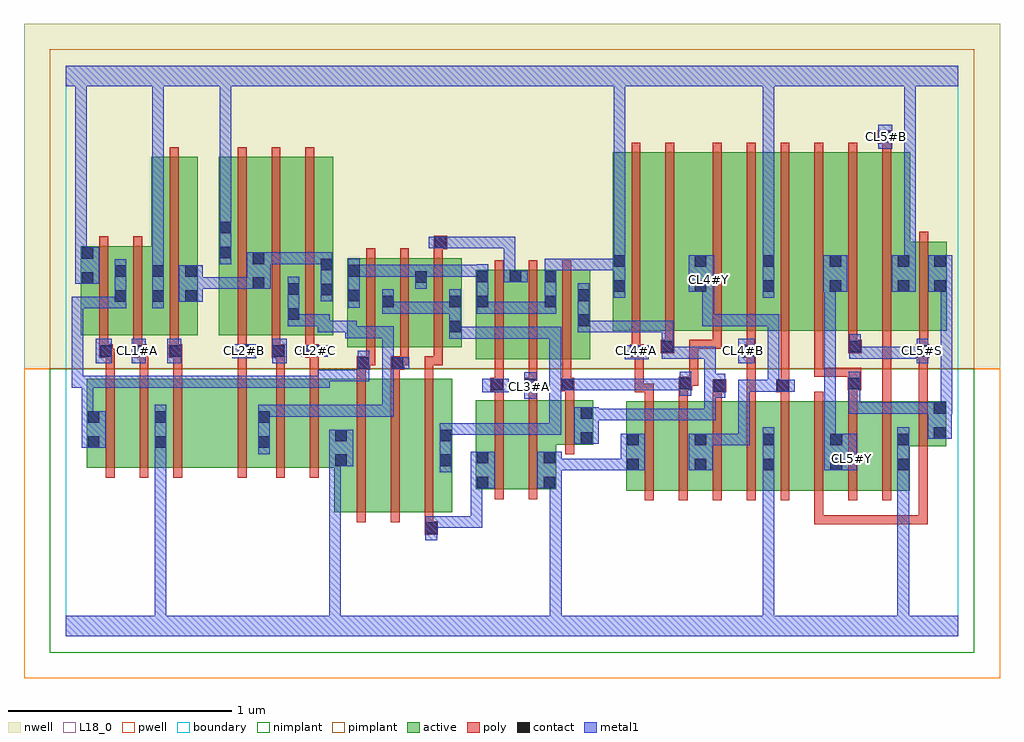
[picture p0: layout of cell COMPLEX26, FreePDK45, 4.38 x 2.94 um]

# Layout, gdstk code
import gdstk
lib = gdstk.Library(unit=1e-6, precision=1e-09)
def R(c, l, rs):  # rectangles x0, y0, x1, y1
    for r in rs: c.add(gdstk.rectangle(r[:2], r[2:], *l))
def A(c, l, x, y, w, h, nx, ny, dx, dy):  # array of equal rectangles
    R(c, l, [(x+i*dx, y+j*dy, x+i*dx+w, y+j*dy+h) for i in range(nx) for j in range(ny)])
active = (1, 0)
pwell = (2, 0)
nwell = (3, 0)
nimplant = (4, 0)
pimplant = (5, 0)
poly = (9, 0)
contact = (10, 0)
metal1 = (11, 0)
L18_0 = (18, 0)
boundary = (235, 0)

complex26 = lib.new_cell('COMPLEX26')
A(complex26, active, 2.512, 0.654, 0.18, 0.4, 4, 1, 0.304, 0)
A(complex26, active, 2.512, 0.654, 0.06, 0.4, 3, 1, 0.304, 0)
A(complex26, active, 2.692, 0.654, 0.184, 0.4, 3, 1, 0.304, 0)
A(complex26, active, 0.382, 1.35, 0.208, 0.8, 3, 1, 0.304, 0)
R(complex26, active, [(1.204,0.556,1.4,1.156), (1.4,0.556,1.552,1.156), (1.552,0.556,1.732,1.156), (1.672,0.556,1.732,1.156), (3.424,0.654,3.484,0.92), (3.604,0.654,3.784,1.054), (1.838,0.66,2.018,1.06), (1.838,0.66,1.898,1.06), (2.018,0.66,2.198,1.06), (2.138,0.66,2.198,0.956), (3.724,0.742,3.784,0.914), (0.094,0.756,0.274,1.156), (0.094,0.756,0.154,1.156), (0.274,0.756,0.454,1.156), (0.394,0.756,0.714,1.156), (0.394,0.756,0.454,1.014), (0.714,0.756,0.918,1.156), (0.858,0.756,1.038,1.156), (0.858,0.756,0.918,1.156), (1.038,0.756,1.264,1.156), (1.204,0.756,1.264,0.938), (3.724,0.854,3.948,1.054), (3.888,0.854,3.948,1.054), (2.138,0.86,2.364,1.06), (2.304,0.86,2.364,1.06), (1.838,1.244,1.898,1.644), (1.838,1.244,2.046,1.644), (1.986,1.244,2.202,1.644), (2.142,1.244,2.35,1.644), (2.29,1.244,2.35,1.644), (1.262,1.296,1.322,1.696), (1.262,1.296,1.474,1.696), (1.414,1.296,1.474,1.696), (1.414,1.296,1.622,1.696), (1.562,1.296,1.622,1.696), (1.562,1.296,1.774,1.696), (1.714,1.296,1.774,1.644), (0.066,1.35,0.126,1.75), (0.066,1.35,0.274,1.75), (0.214,1.35,0.442,1.75), (0.53,1.35,0.59,2.044), (0.686,1.35,0.746,2.15), (0.834,1.35,1.05,2.15), (1.138,1.35,1.198,2.15), (2.452,1.37,2.632,2.17), (2.452,1.37,2.512,2.17), (2.632,1.37,2.876,2.17), (2.816,1.37,2.996,2.17), (2.816,1.37,2.876,2.094), (2.996,1.37,3.18,2.17), (3.12,1.37,3.3,2.17), (3.3,1.37,3.48,2.17), (3.42,1.37,3.604,2.17), (3.604,1.37,3.786,2.17), (3.726,1.37,3.95,1.77), (3.89,1.37,3.95,1.75), (0.99,1.416,1.05,2.044), (2.142,1.472,2.202,1.644), (0.214,1.496,0.274,1.668), (0.382,1.496,0.442,1.696), (3.12,1.536,3.18,2.17), (3.42,1.542,3.48,2.164), (3.726,1.542,3.786,1.75), (0.834,1.554,0.894,2.044), (1.986,1.584,2.046,1.644)])
R(complex26, pwell, [(-0.188,-0.188,4.188,1.2)])
R(complex26, nwell, [(-0.188,1.2,4.188,2.748)])
R(complex26, nimplant, [(-0.072,-0.072,4.072,1.2)])
R(complex26, pimplant, [(-0.072,1.2,4.072,2.632)])
A(complex26, poly, 1.304, 0.512, 0.04, 0.688, 3, 1, 0.152, 0)
A(complex26, poly, 2.596, 0.61, 0.04, 0.488, 8, 1, 0.152, 0)
A(complex26, poly, 0.178, 0.712, 0.04, 0.488, 3, 1, 0.152, 0)
A(complex26, poly, 2.596, 1.058, 0.04, 0.076, 3, 1, 0.304, 0)
A(complex26, poly, 1.922, 1.12, 0.04, 0.12, 3, 1, 0.152, 0)
A(complex26, poly, 0.178, 1.16, 0.04, 0.13, 3, 1, 0.152, 0)
A(complex26, poly, 1.922, 1.2, 0.04, 0.488, 3, 1, 0.152, 0)
A(complex26, poly, 1.346, 1.216, 0.04, 0.076, 3, 1, 0.152, 0)
A(complex26, poly, 0.77, 1.25, 0.06, 0.06, 3, 1, 0.152, 0)
A(complex26, poly, 1.346, 1.252, 0.04, 0.488, 3, 1, 0.152, 0)
A(complex26, poly, 0.77, 1.27, 0.04, 0.076, 3, 1, 0.152, 0)
A(complex26, poly, 0.77, 1.306, 0.04, 0.888, 3, 1, 0.152, 0)
A(complex26, poly, 2.9, 1.326, 0.04, 0.888, 6, 1, 0.152, 0)
R(complex26, poly, [(1.608,0.456,1.668,0.516), (1.608,0.476,1.648,0.552), (3.356,0.504,3.396,0.544), (3.356,0.504,3.396,0.544), (3.356,0.504,3.396,0.544), (3.356,0.504,3.502,0.544), (3.356,0.504,3.396,0.65), (3.462,0.504,3.502,0.544), (3.462,0.504,3.502,0.544), (3.462,0.504,3.502,0.544), (3.462,0.504,3.744,0.544), (3.704,0.504,3.744,0.544), (3.704,0.504,3.744,0.544), (3.704,0.504,3.744,0.544), (3.704,0.504,3.864,0.544), (3.824,0.504,3.864,0.544), (3.824,0.504,3.864,0.544), (3.824,0.504,3.864,0.544), (3.824,0.504,3.864,0.544), (3.824,0.504,3.864,0.544), (3.824,0.504,3.864,0.85), (1.922,0.616,1.962,1.104), (2.074,0.616,2.114,1.104), (0.77,0.712,0.81,1.2), (0.942,0.712,0.982,1.2), (1.094,0.712,1.134,1.2), (3.824,0.81,3.864,1.098), (2.238,0.816,2.278,1.104), (2.748,1.058,2.788,1.144), (3.052,1.058,3.092,1.29), (3.508,1.058,3.548,1.144), (3.66,1.058,3.7,1.304), (3.824,1.058,3.864,1.29), (1.922,1.064,1.962,1.14), (2.074,1.064,2.114,1.14), (2.238,1.064,2.278,1.14), (2.55,1.094,2.59,1.29), (2.55,1.094,2.636,1.134), (2.9,1.094,2.96,1.154), (3.184,1.094,3.244,1.154), (3.204,1.094,3.244,1.134), (3.204,1.094,3.244,1.134), (1.902,1.1,1.962,1.16), (2.054,1.1,2.114,1.16), (2.218,1.1,2.278,1.16), (2.238,1.1,2.278,1.14), (2.238,1.1,2.278,1.14), (2.748,1.104,2.808,1.164), (3.506,1.104,3.566,1.204), (3.204,1.114,3.244,1.366), (1.922,1.12,1.962,1.16), (1.922,1.12,1.962,1.16), (2.074,1.12,2.114,1.16), (2.074,1.12,2.114,1.16), (2.768,1.124,2.834,1.164), (2.794,1.124,2.834,1.164), (2.794,1.124,2.834,1.33), (0.77,1.16,0.81,1.29), (0.942,1.16,0.982,1.29), (1.094,1.16,1.134,1.29), (1.304,1.16,1.344,1.236), (1.456,1.16,1.496,1.236), (1.608,1.16,1.648,1.256), (3.356,1.164,3.396,1.204), (3.356,1.164,3.396,1.204), (3.356,1.164,3.396,1.204), (3.356,1.164,3.396,1.204), (3.356,1.164,3.396,1.204), (3.356,1.164,3.546,1.204), (3.356,1.164,3.396,1.366), (1.304,1.196,1.364,1.256), (1.456,1.196,1.516,1.256), (1.324,1.216,1.364,1.256), (1.324,1.216,1.386,1.256), (1.476,1.216,1.516,1.256), (1.476,1.216,1.538,1.256), (1.608,1.216,1.648,1.256), (1.608,1.216,1.648,1.256), (1.608,1.216,1.69,1.256), (0.15,1.25,0.21,1.31), (0.17,1.25,0.21,1.29), (0.17,1.25,0.218,1.29), (0.302,1.25,0.362,1.31), (0.322,1.25,0.362,1.29), (0.322,1.25,0.37,1.29), (0.462,1.25,0.522,1.31), (0.482,1.25,0.522,1.29), (0.482,1.25,0.522,1.29), (0.77,1.25,0.81,1.29), (0.77,1.25,0.81,1.29), (0.942,1.25,0.982,1.29), (0.942,1.25,0.982,1.29), (1.094,1.25,1.134,1.29), (1.094,1.25,1.134,1.29), (2.53,1.25,2.59,1.31), (3.032,1.25,3.092,1.31), (3.81,1.25,3.87,1.31), (3.824,1.25,3.864,1.29), (3.824,1.25,3.864,1.29), (3.66,1.264,3.7,1.304), (3.66,1.264,3.7,1.304), (3.66,1.264,3.7,1.304), (3.66,1.264,3.7,1.366), (0.15,1.27,0.19,1.346), (0.302,1.27,0.342,1.346), (0.466,1.27,0.506,1.346), (2.536,1.27,2.576,1.366), (2.668,1.27,2.728,1.33), (3.052,1.27,3.092,1.366), (3.052,1.27,3.092,1.31), (3.052,1.27,3.092,1.31), (3.508,1.27,3.568,1.33), (3.826,1.27,3.866,1.366), (2.688,1.29,2.728,1.366), (2.794,1.29,2.834,1.33), (2.794,1.29,2.94,1.33), (2.9,1.29,2.94,1.33), (2.9,1.29,2.94,1.366), (3.508,1.29,3.548,1.366), (0.15,1.306,0.19,1.794), (0.302,1.306,0.342,1.794), (0.466,1.306,0.506,2.194), (2.536,1.326,2.576,2.214), (2.688,1.326,2.728,2.214), (3.826,1.326,3.866,1.814), (1.65,1.7,1.69,1.776), (1.65,1.736,1.71,1.796), (3.66,2.174,3.7,2.25), (3.64,2.21,3.7,2.27)])
A(complex26, contact, 2.516, 0.746, 0.052, 0.052, 4, 2, 0.304, 0.112)
A(complex26, contact, 0.774, 1.254, 0.052, 0.052, 3, 1, 0.152, 0)
R(complex26, contact, [(1.612,0.46,1.664,0.512), (1.842,0.664,1.894,0.716), (2.142,0.664,2.194,0.716), (3.728,0.746,3.78,0.798), (1.208,0.764,1.26,0.816), (1.676,0.764,1.728,0.816), (1.842,0.776,1.894,0.828), (2.142,0.776,2.194,0.828), (0.098,0.846,0.15,0.898), (0.398,0.846,0.45,0.898), (0.862,0.846,0.914,0.898), (3.728,0.858,3.78,0.91), (2.308,0.864,2.36,0.916), (1.208,0.876,1.26,0.928), (1.676,0.876,1.728,0.928), (3.892,0.886,3.944,0.938), (0.098,0.958,0.15,1.01), (0.398,0.958,0.45,1.01), (0.862,0.958,0.914,1.01), (2.308,0.976,2.36,1.028), (3.892,0.998,3.944,1.05), (2.904,1.098,2.956,1.15), (3.188,1.098,3.24,1.15), (1.906,1.104,1.958,1.156), (2.058,1.104,2.11,1.156), (2.222,1.104,2.274,1.156), (2.752,1.108,2.804,1.16), (3.51,1.108,3.562,1.16), (1.308,1.2,1.36,1.252), (1.46,1.2,1.512,1.252), (0.154,1.254,0.206,1.306), (0.306,1.254,0.358,1.306), (0.466,1.254,0.518,1.306), (2.534,1.254,2.586,1.306), (3.036,1.254,3.088,1.306), (3.814,1.254,3.866,1.306), (2.672,1.274,2.724,1.326), (3.512,1.274,3.564,1.326), (1.718,1.364,1.77,1.416), (2.294,1.392,2.346,1.444), (0.994,1.42,1.046,1.472), (1.418,1.476,1.47,1.528), (1.718,1.476,1.77,1.528), (1.842,1.476,1.894,1.528), (2.146,1.476,2.198,1.528), (0.218,1.5,0.27,1.552), (0.386,1.5,0.438,1.552), (0.534,1.5,0.586,1.552), (1.266,1.502,1.318,1.554), (2.294,1.504,2.346,1.556), (1.142,1.53,1.194,1.582), (0.994,1.532,1.046,1.584), (2.456,1.546,2.508,1.598), (2.82,1.546,2.872,1.598), (3.124,1.546,3.176,1.598), (3.424,1.546,3.476,1.598), (3.73,1.546,3.782,1.598), (3.894,1.546,3.946,1.598), (0.838,1.558,0.89,1.61), (0.07,1.582,0.122,1.634), (1.566,1.586,1.618,1.638), (1.842,1.588,1.894,1.64), (1.99,1.588,2.042,1.64), (2.146,1.588,2.198,1.64), (0.218,1.612,0.27,1.664), (0.386,1.612,0.438,1.664), (0.534,1.612,0.586,1.664), (1.266,1.614,1.318,1.666), (1.142,1.642,1.194,1.694), (2.456,1.658,2.508,1.71), (2.82,1.658,2.872,1.71), (3.124,1.658,3.176,1.71), (3.424,1.658,3.476,1.71), (3.73,1.658,3.782,1.71), (3.894,1.658,3.946,1.71), (0.838,1.67,0.89,1.722), (0.07,1.694,0.122,1.746), (0.69,1.696,0.742,1.748), (1.654,1.74,1.706,1.792), (0.69,1.808,0.742,1.86), (3.644,2.214,3.696,2.266)])
R(complex26, metal1, [(0,0,4,0.092), (0.398,0.04,0.45,0.092), (0.398,0.04,0.45,0.092), (0.398,0.04,0.45,0.092), (0.398,0.04,0.45,0.092), (0.398,0.04,0.45,0.092), (0.398,0.04,0.45,0.092), (0.398,0.04,0.45,0.092), (0.398,0.04,0.45,0.092), (0.398,0.04,0.45,0.87), (1.18,0.04,1.232,0.092), (1.18,0.04,1.232,0.092), (1.18,0.04,1.232,0.092), (1.18,0.04,1.232,0.092), (1.18,0.04,1.232,0.092), (1.18,0.04,1.232,0.092), (1.18,0.04,1.232,0.092), (1.18,0.04,1.232,0.092), (1.18,0.04,1.232,0.816), (2.17,0.04,2.222,0.092), (2.17,0.04,2.222,0.092), (2.17,0.04,2.222,0.092), (2.17,0.04,2.222,0.092), (2.17,0.04,2.222,0.092), (2.17,0.04,2.222,0.092), (2.17,0.04,2.222,0.706), (3.124,0.04,3.176,0.092), (3.124,0.04,3.176,0.092), (3.124,0.04,3.176,0.092), (3.124,0.04,3.176,0.092), (3.124,0.04,3.176,0.092), (3.124,0.04,3.176,0.092), (3.124,0.04,3.176,0.092), (3.124,0.04,3.176,0.092), (3.124,0.04,3.176,0.092), (3.124,0.04,3.176,0.092), (3.124,0.04,3.176,0.77), (3.728,0.04,3.78,0.092), (3.728,0.04,3.78,0.092), (3.728,0.04,3.78,0.092), (3.728,0.04,3.78,0.092), (3.728,0.04,3.78,0.092), (3.728,0.04,3.78,0.092), (3.728,0.04,3.78,0.092), (3.728,0.04,3.78,0.092), (3.728,0.04,3.78,0.092), (3.728,0.04,3.78,0.092), (3.728,0.04,3.78,0.77), (1.612,0.432,1.664,0.54), (1.612,0.488,1.728,0.54), (1.676,0.488,1.728,0.54), (1.676,0.488,1.866,0.54), (1.814,0.488,1.866,0.54), (1.814,0.488,1.866,0.54), (1.814,0.488,1.866,0.54), (1.814,0.488,1.866,0.54), (1.814,0.488,1.866,0.54), (1.814,0.488,1.866,0.716), (2.17,0.654,2.222,0.706), (2.17,0.654,2.222,0.716), (1.814,0.664,1.922,0.828), (2.114,0.664,2.222,0.828), (2.17,0.664,2.222,0.716), (2.17,0.664,2.222,0.716), (2.17,0.664,2.222,0.716), (2.17,0.664,2.222,0.716), (3.124,0.718,3.176,0.77), (3.124,0.718,3.176,0.77), (3.124,0.718,3.176,0.938), (3.728,0.718,3.78,0.77), (3.728,0.718,3.78,0.77), (3.728,0.718,3.78,0.938), (1.676,0.736,1.728,0.956), (2.17,0.746,2.222,0.798), (2.17,0.746,2.222,0.798), (2.17,0.746,2.332,0.798), (2.28,0.746,2.332,0.798), (2.28,0.746,2.54,0.798), (2.488,0.746,2.596,0.91), (2.792,0.746,2.9,0.91), (3.4,0.746,3.546,0.91), (1.18,0.764,1.288,0.928), (0.398,0.818,0.45,0.87), (0.398,0.818,0.45,0.87), (0.398,0.818,0.45,0.87), (0.398,0.818,0.45,0.87), (0.398,0.818,0.45,1.038), (0.862,0.818,0.914,1.038), (0.07,0.846,0.178,1.01), (2.848,0.858,2.914,0.91), (2.862,0.858,2.914,0.91), (2.862,0.858,3.066,0.91), (3.014,0.858,3.066,0.91), (3.014,0.858,3.066,1.15), (3.4,0.858,3.452,0.91), (3.4,0.858,3.452,0.91), (3.4,0.858,3.452,0.91), (3.4,0.858,3.452,0.91), (3.4,0.858,3.452,0.91), (3.4,0.858,3.452,0.91), (3.4,0.858,3.452,0.91), (3.4,0.858,3.452,0.91), (3.4,0.858,3.452,1.598), (2.28,0.864,2.388,1.028), (3.864,0.886,3.972,1.05), (1.676,0.904,1.88,0.956), (1.828,0.904,1.88,0.956), (1.828,0.904,1.88,0.956), (1.828,0.904,1.88,0.956), (1.828,0.904,2.056,0.956), (2.004,0.904,2.056,0.956), (2.004,0.904,2.056,0.956), (2.004,0.904,2.056,0.956), (2.004,0.904,2.22,0.956), (2.168,0.904,2.22,0.956), (2.168,0.904,2.22,1.156), (0.07,0.958,0.122,1.168), (2.336,0.97,2.508,1.022), (2.456,0.97,2.508,1.022), (2.456,0.97,2.508,1.022), (2.456,0.97,2.508,1.022), (2.456,0.97,2.734,1.022), (2.682,0.97,2.734,1.022), (2.682,0.97,2.734,1.022), (2.682,0.97,2.734,1.022), (2.682,0.97,2.914,1.022), (2.862,0.97,2.914,1.022), (2.862,0.97,2.914,1.178), (0.862,0.986,0.914,1.038), (0.862,0.986,0.914,1.038), (0.862,0.986,1.072,1.038), (1.02,0.986,1.072,1.038), (1.02,0.986,1.194,1.038), (1.142,0.986,1.194,1.038), (1.142,0.986,1.194,1.038), (1.142,0.986,1.194,1.038), (1.142,0.986,1.304,1.038), (1.252,0.986,1.304,1.038), (1.252,0.986,1.304,1.038), (1.252,0.986,1.304,1.038), (1.252,0.986,1.47,1.038), (1.418,0.986,1.47,1.038), (1.418,0.986,1.47,1.252), (3.51,0.998,3.562,1.05), (3.51,0.998,3.674,1.05), (3.51,0.998,3.562,1.132), (3.622,0.998,3.674,1.05), (3.622,0.998,3.674,1.05), (3.622,0.998,3.674,1.05), (3.622,0.998,3.916,1.05), (3.864,0.998,3.916,1.05), (3.864,0.998,3.916,1.05), (3.92,0.998,3.972,1.05), (3.92,0.998,3.974,1.05), (3.922,0.998,3.974,1.598), (2.054,1.066,2.11,1.184), (2.904,1.07,2.956,1.178), (2.752,1.08,2.804,1.188), (3.51,1.08,3.562,1.132), (3.51,1.08,3.562,1.132), (3.51,1.08,3.562,1.188), (1.866,1.094,1.986,1.156), (3.014,1.098,3.066,1.15), (3.014,1.098,3.066,1.15), (3.014,1.098,3.066,1.15), (3.014,1.098,3.198,1.15), (3.146,1.098,3.198,1.15), (3.146,1.098,3.198,1.15), (3.146,1.098,3.198,1.15), (3.146,1.098,3.198,1.15), (3.146,1.098,3.198,1.15), (3.146,1.098,3.212,1.15), (3.146,1.098,3.198,1.444), (3.16,1.098,3.268,1.15), (2.168,1.104,2.22,1.156), (2.168,1.104,2.22,1.156), (2.168,1.104,2.22,1.156), (2.168,1.104,2.246,1.156), (2.168,1.104,2.398,1.156), (2.168,1.104,2.22,1.388), (2.194,1.104,2.302,1.156), (2.346,1.104,2.398,1.156), (2.346,1.104,2.398,1.156), (2.346,1.104,2.398,1.156), (2.346,1.104,2.614,1.156), (2.562,1.104,2.614,1.156), (2.562,1.104,2.614,1.156), (2.562,1.104,2.614,1.156), (2.562,1.104,2.734,1.156), (2.682,1.104,2.734,1.156), (2.682,1.104,2.804,1.156), (0.026,1.116,0.078,1.524), (0.026,1.116,0.122,1.168), (0.07,1.116,0.122,1.168), (0.07,1.116,0.122,1.168), (0.07,1.116,0.232,1.168), (0.18,1.116,0.232,1.168), (0.18,1.116,0.232,1.168), (0.18,1.116,0.232,1.168), (0.18,1.116,0.426,1.168), (0.374,1.116,0.426,1.168), (0.374,1.116,0.426,1.168), (0.374,1.116,0.426,1.168), (0.374,1.116,0.614,1.168), (0.562,1.116,0.614,1.168), (0.562,1.116,0.614,1.168), (0.562,1.116,0.614,1.168), (0.562,1.116,0.724,1.168), (0.672,1.116,0.724,1.168), (0.672,1.116,0.724,1.168), (0.672,1.116,0.724,1.168), (0.672,1.116,0.834,1.168), (0.782,1.116,0.834,1.168), (0.782,1.116,1.05,1.168), (0.998,1.116,1.05,1.168), (0.998,1.116,1.182,1.168), (1.13,1.116,1.182,1.168), (1.13,1.116,1.182,1.168), (1.13,1.116,1.182,1.196), (2.862,1.126,2.914,1.178), (2.862,1.126,2.956,1.178), (2.862,1.126,2.914,1.298), (1.13,1.144,1.36,1.196), (1.308,1.144,1.36,1.224), (1.308,1.172,1.36,1.224), (1.308,1.172,1.36,1.28), (1.418,1.2,1.47,1.252), (1.418,1.2,1.484,1.252), (1.418,1.2,1.47,1.39), (1.432,1.2,1.54,1.252), (0.134,1.226,0.206,1.334), (0.294,1.226,0.358,1.334), (0.454,1.226,0.518,1.334), (0.926,1.226,0.99,1.334), (3.014,1.226,3.088,1.334), (3.814,1.226,3.866,1.334), (2.506,1.244,2.614,1.306), (2.672,1.246,2.724,1.354), (2.672,1.246,2.914,1.298), (2.862,1.246,2.914,1.298), (3.512,1.246,3.564,1.298), (3.512,1.246,3.564,1.298), (3.512,1.246,3.564,1.354), (3.512,1.246,3.756,1.298), (3.704,1.246,3.756,1.298), (3.704,1.246,3.756,1.298), (3.704,1.246,3.756,1.298), (3.704,1.246,3.866,1.298), (0.746,1.248,0.854,1.31), (1.05,1.254,1.174,1.306), (2.672,1.302,2.724,1.354), (2.672,1.302,2.724,1.354), (2.672,1.302,2.724,1.416), (1.718,1.336,1.88,1.388), (1.718,1.336,1.77,1.556), (1.828,1.336,1.88,1.388), (1.828,1.336,1.88,1.388), (1.828,1.336,1.88,1.388), (1.828,1.336,2.032,1.388), (1.98,1.336,2.032,1.388), (1.98,1.336,2.032,1.388), (1.98,1.336,2.032,1.388), (1.98,1.336,2.22,1.388), (2.168,1.336,2.22,1.388), (1.252,1.338,1.304,1.39), (1.252,1.338,1.304,1.39), (1.252,1.338,1.304,1.39), (1.252,1.338,1.304,1.416), (1.252,1.338,1.47,1.39), (1.418,1.338,1.47,1.39), (1.13,1.364,1.182,1.416), (1.13,1.364,1.182,1.416), (1.13,1.364,1.304,1.416), (1.13,1.364,1.182,1.444), (1.252,1.364,1.304,1.416), (2.294,1.364,2.346,1.584), (2.294,1.364,2.614,1.416), (2.562,1.364,2.614,1.416), (2.562,1.364,2.614,1.416), (2.562,1.364,2.614,1.416), (2.562,1.364,2.724,1.416), (2.672,1.364,2.724,1.416), (0.994,1.392,1.046,1.612), (0.994,1.392,1.182,1.444), (2.854,1.392,2.906,1.444), (2.854,1.392,2.942,1.444), (2.854,1.392,2.906,1.598), (2.89,1.392,2.942,1.444), (2.89,1.392,3.052,1.444), (3,1.392,3.052,1.444), (3,1.392,3.052,1.444), (3,1.392,3.052,1.444), (3,1.392,3.198,1.444), (3.146,1.392,3.198,1.444), (1.418,1.448,1.47,1.5), (1.418,1.448,1.47,1.5), (1.418,1.448,1.47,1.556), (1.418,1.448,1.618,1.5), (1.566,1.448,1.618,1.5), (1.566,1.448,1.618,1.5), (1.566,1.448,1.618,1.5), (1.566,1.448,1.77,1.5), (1.842,1.448,1.894,1.5), (1.842,1.448,1.894,1.5), (1.842,1.448,1.894,1.668), (1.842,1.448,2.056,1.5), (2.004,1.448,2.056,1.5), (2.004,1.448,2.056,1.5), (2.004,1.448,2.056,1.5), (2.004,1.448,2.198,1.5), (2.146,1.448,2.198,1.5), (2.146,1.448,2.198,1.5), (2.146,1.448,2.198,1.668), (0.026,1.472,0.078,1.524), (0.026,1.472,0.078,1.524), (0.026,1.472,0.078,1.524), (0.026,1.472,0.078,1.524), (0.026,1.472,0.078,1.524), (0.026,1.472,0.27,1.524), (0.218,1.472,0.27,1.692), (0.386,1.472,0.438,1.692), (1.266,1.474,1.318,1.694), (0.506,1.5,0.614,1.664), (1.142,1.502,1.194,1.722), (2.456,1.518,2.508,1.738), (3.124,1.518,3.176,1.738), (2.792,1.546,2.906,1.71), (3.396,1.546,3.504,1.71), (3.702,1.546,3.81,1.71), (3.866,1.546,3.974,1.71), (3.922,1.546,3.974,1.598), (3.922,1.546,3.974,1.598), (0.562,1.558,0.614,1.61), (0.562,1.558,0.614,1.61), (0.562,1.558,0.724,1.61), (0.672,1.558,0.724,1.61), (0.672,1.558,0.862,1.61), (0.81,1.558,0.918,1.722), (1.566,1.558,1.618,1.666), (0.042,1.582,0.15,1.746), (1.962,1.588,2.07,1.64), (1.962,1.588,2.014,1.792), (1.266,1.614,1.318,1.666), (1.266,1.614,1.318,1.666), (1.266,1.614,1.47,1.666), (1.418,1.614,1.47,1.666), (1.418,1.614,1.47,1.666), (1.418,1.614,1.47,1.666), (1.418,1.614,1.618,1.666), (1.566,1.614,1.756,1.666), (1.704,1.614,1.756,1.666), (1.704,1.614,1.756,1.666), (1.704,1.614,1.756,1.666), (1.704,1.614,1.894,1.666), (2.146,1.616,2.198,1.668), (2.146,1.616,2.198,1.668), (2.146,1.616,2.198,1.694), (0.386,1.64,0.438,1.692), (0.386,1.64,0.438,1.692), (0.386,1.64,0.438,2.52), (2.146,1.642,2.198,1.694), (2.146,1.642,2.398,1.694), (2.346,1.642,2.398,1.694), (2.346,1.642,2.398,1.694), (2.346,1.642,2.398,1.694), (2.346,1.642,2.398,1.694), (2.346,1.642,2.398,1.694), (2.346,1.642,2.398,1.694), (2.346,1.642,2.398,1.694), (2.346,1.642,2.508,1.694), (3.758,1.658,3.81,2.52), (0.69,1.668,0.742,1.888), (0.866,1.67,0.918,1.722), (0.866,1.67,0.918,1.722), (0.866,1.67,0.918,1.722), (0.866,1.67,0.918,1.722), (0.866,1.67,1.072,1.722), (1.02,1.67,1.072,1.722), (1.02,1.67,1.194,1.722), (1.142,1.67,1.194,1.722), (1.142,1.67,1.194,1.722), (2.456,1.686,2.508,1.738), (2.456,1.686,2.508,1.738), (2.456,1.686,2.508,1.738), (2.456,1.686,2.508,1.738), (2.456,1.686,2.508,2.52), (3.124,1.686,3.176,1.738), (3.124,1.686,3.176,1.738), (3.124,1.686,3.176,2.52), (0.042,1.694,0.094,2.52), (1.626,1.74,1.734,1.792), (1.682,1.74,1.734,1.792), (1.682,1.74,1.734,1.792), (1.682,1.74,1.88,1.792), (1.828,1.74,1.88,1.792), (1.828,1.74,1.88,1.792), (1.828,1.74,1.88,1.792), (1.828,1.74,2.014,1.792), (1.962,1.74,2.014,1.792), (0.69,1.836,0.742,2.52), (3.642,2.186,3.706,2.294), (0,2.468,4,2.56), (0.042,2.468,0.094,2.52), (0.042,2.468,0.094,2.52), (0.042,2.468,0.094,2.52), (0.042,2.468,0.094,2.52), (0.042,2.468,0.094,2.52), (0.042,2.468,0.094,2.52), (0.042,2.468,0.094,2.52), (0.042,2.468,0.094,2.52), (0.042,2.468,0.094,2.52), (0.042,2.468,0.094,2.52), (0.042,2.468,0.094,2.52), (0.042,2.468,0.094,2.52), (0.042,2.468,0.094,2.52), (0.042,2.468,0.094,2.52), (0.042,2.468,0.094,2.52), (0.042,2.468,0.094,2.52), (0.386,2.468,0.438,2.52), (0.386,2.468,0.438,2.52), (0.386,2.468,0.438,2.52), (0.386,2.468,0.438,2.52), (0.386,2.468,0.438,2.52), (0.386,2.468,0.438,2.52), (0.69,2.468,0.742,2.52), (0.69,2.468,0.742,2.52), (0.69,2.468,0.742,2.52), (0.69,2.468,0.742,2.52), (0.69,2.468,0.742,2.52), (0.69,2.468,0.742,2.52), (0.69,2.468,0.742,2.52), (0.69,2.468,0.742,2.52), (2.456,2.468,2.508,2.52), (2.456,2.468,2.508,2.52), (2.456,2.468,2.508,2.52), (2.456,2.468,2.508,2.52), (3.124,2.468,3.176,2.52), (3.124,2.468,3.176,2.52), (3.124,2.468,3.176,2.52), (3.124,2.468,3.176,2.52), (3.124,2.468,3.176,2.52), (3.124,2.468,3.176,2.52), (3.758,2.468,3.816,2.52), (3.764,2.468,3.816,2.52), (3.764,2.468,3.816,2.52), (3.764,2.468,3.816,2.52), (3.764,2.468,3.816,2.52), (3.764,2.468,3.816,2.52), (3.764,2.468,3.816,2.52), (3.764,2.468,3.816,2.52)])
A(complex26, L18_0, 0.134, 1.254, 0.052, 0.052, 3, 1, 0.16, 0)
A(complex26, L18_0, 0.774, 1.254, 0.052, 0.052, 3, 1, 0.16, 0)
R(complex26, L18_0, [(0,0,4,0.092), (0.398,0.04,0.45,0.092), (0.398,0.04,0.45,0.092), (0.398,0.04,0.45,0.092), (0.398,0.04,0.45,0.092), (0.398,0.04,0.45,0.092), (0.398,0.04,0.45,0.092), (0.398,0.04,0.45,0.092), (0.398,0.04,0.45,0.092), (0.398,0.04,0.45,0.87), (1.18,0.04,1.232,0.092), (1.18,0.04,1.232,0.092), (1.18,0.04,1.232,0.092), (1.18,0.04,1.232,0.092), (1.18,0.04,1.232,0.092), (1.18,0.04,1.232,0.092), (1.18,0.04,1.232,0.092), (1.18,0.04,1.232,0.092), (1.18,0.04,1.232,0.816), (2.17,0.04,2.222,0.092), (2.17,0.04,2.222,0.092), (2.17,0.04,2.222,0.092), (2.17,0.04,2.222,0.092), (2.17,0.04,2.222,0.092), (2.17,0.04,2.222,0.092), (2.17,0.04,2.222,0.706), (3.124,0.04,3.176,0.092), (3.124,0.04,3.176,0.092), (3.124,0.04,3.176,0.092), (3.124,0.04,3.176,0.092), (3.124,0.04,3.176,0.092), (3.124,0.04,3.176,0.092), (3.124,0.04,3.176,0.092), (3.124,0.04,3.176,0.092), (3.124,0.04,3.176,0.092), (3.124,0.04,3.176,0.092), (3.124,0.04,3.176,0.77), (3.728,0.04,3.78,0.092), (3.728,0.04,3.78,0.092), (3.728,0.04,3.78,0.092), (3.728,0.04,3.78,0.092), (3.728,0.04,3.78,0.092), (3.728,0.04,3.78,0.092), (3.728,0.04,3.78,0.092), (3.728,0.04,3.78,0.092), (3.728,0.04,3.78,0.092), (3.728,0.04,3.78,0.092), (3.728,0.04,3.78,0.77), (2.17,0.654,2.222,0.706), (2.17,0.654,2.222,0.716), (2.114,0.664,2.222,0.828), (2.17,0.664,2.222,0.716), (2.17,0.664,2.222,0.716), (2.17,0.664,2.222,0.716), (2.17,0.664,2.222,0.716), (3.124,0.718,3.176,0.77), (3.124,0.718,3.176,0.77), (3.124,0.718,3.176,0.938), (3.728,0.718,3.78,0.77), (3.728,0.718,3.78,0.77), (3.728,0.718,3.78,0.938), (2.17,0.746,2.222,0.798), (2.17,0.746,2.222,0.798), (2.17,0.746,2.332,0.798), (2.28,0.746,2.332,0.798), (2.28,0.746,2.54,0.798), (2.488,0.746,2.596,0.91), (2.792,0.746,2.9,0.91), (3.4,0.746,3.546,0.91), (1.18,0.764,1.288,0.928), (3.494,0.774,3.546,0.826), (0.398,0.818,0.45,0.87), (0.398,0.818,0.45,0.87), (0.398,0.818,0.45,0.87), (0.398,0.818,0.45,0.87), (0.398,0.818,0.45,1.038), (2.848,0.858,2.914,0.91), (2.862,0.858,2.914,0.91), (2.862,0.858,3.066,0.91), (3.014,0.858,3.066,0.91), (3.014,0.858,3.066,1.15), (3.4,0.858,3.452,0.91), (3.4,0.858,3.452,0.91), (3.4,0.858,3.452,0.91), (3.4,0.858,3.452,0.91), (3.4,0.858,3.452,0.91), (3.4,0.858,3.452,0.91), (3.4,0.858,3.452,0.91), (3.4,0.858,3.452,0.91), (3.4,0.858,3.452,1.598), (2.054,1.066,2.11,1.184), (1.866,1.094,1.986,1.156), (1.894,1.094,1.946,1.146), (2.054,1.094,2.106,1.146), (3.014,1.098,3.066,1.15), (3.014,1.098,3.066,1.15), (3.014,1.098,3.066,1.15), (3.014,1.098,3.198,1.15), (3.146,1.098,3.198,1.15), (3.146,1.098,3.198,1.15), (3.146,1.098,3.198,1.15), (3.146,1.098,3.198,1.15), (3.146,1.098,3.198,1.15), (3.146,1.098,3.212,1.15), (3.146,1.098,3.198,1.444), (3.16,1.098,3.268,1.15), (0.134,1.226,0.206,1.334), (0.294,1.226,0.358,1.334), (0.454,1.226,0.518,1.334), (0.926,1.226,0.99,1.334), (3.014,1.226,3.088,1.334), (3.814,1.226,3.866,1.334), (2.506,1.244,2.614,1.306), (3.512,1.246,3.564,1.298), (3.512,1.246,3.564,1.298), (3.512,1.246,3.564,1.354), (3.512,1.246,3.756,1.298), (3.704,1.246,3.756,1.298), (3.704,1.246,3.756,1.298), (3.704,1.246,3.756,1.298), (3.704,1.246,3.866,1.298), (0.746,1.248,0.854,1.31), (1.05,1.254,1.174,1.306), (2.534,1.254,2.586,1.306), (3.014,1.254,3.066,1.306), (3.814,1.254,3.866,1.306), (2.854,1.392,2.906,1.444), (2.854,1.392,2.906,1.598), (2.854,1.392,2.942,1.444), (2.89,1.392,2.942,1.444), (2.89,1.392,3.052,1.444), (3,1.392,3.052,1.444), (3,1.392,3.052,1.444), (3,1.392,3.052,1.444), (3,1.392,3.198,1.444), (3.146,1.392,3.198,1.444), (1.842,1.448,1.894,1.5), (1.842,1.448,1.894,1.5), (1.842,1.448,1.894,1.668), (1.842,1.448,2.056,1.5), (2.004,1.448,2.056,1.5), (2.004,1.448,2.056,1.5), (2.004,1.448,2.056,1.5), (2.004,1.448,2.198,1.5), (2.146,1.448,2.198,1.5), (2.146,1.448,2.198,1.5), (2.146,1.448,2.198,1.668), (0.386,1.472,0.438,1.692), (1.266,1.474,1.318,1.694), (2.456,1.518,2.508,1.738), (3.124,1.518,3.176,1.738), (2.792,1.546,2.906,1.71), (3.396,1.546,3.504,1.71), (3.702,1.546,3.81,1.71), (1.566,1.558,1.618,1.666), (2.854,1.574,2.906,1.626), (0.042,1.582,0.15,1.746), (1.266,1.614,1.318,1.666), (1.266,1.614,1.318,1.666), (1.266,1.614,1.47,1.666), (1.418,1.614,1.47,1.666), (1.418,1.614,1.47,1.666), (1.418,1.614,1.47,1.666), (1.418,1.614,1.618,1.666), (1.566,1.614,1.756,1.666), (1.704,1.614,1.756,1.666), (1.704,1.614,1.756,1.666), (1.704,1.614,1.756,1.666), (1.704,1.614,1.894,1.666), (2.146,1.616,2.198,1.668), (2.146,1.616,2.198,1.668), (2.146,1.616,2.198,1.694), (0.386,1.64,0.438,1.692), (0.386,1.64,0.438,1.692), (0.386,1.64,0.438,2.52), (2.146,1.642,2.198,1.694), (2.146,1.642,2.398,1.694), (2.346,1.642,2.398,1.694), (2.346,1.642,2.398,1.694), (2.346,1.642,2.398,1.694), (2.346,1.642,2.398,1.694), (2.346,1.642,2.398,1.694), (2.346,1.642,2.398,1.694), (2.346,1.642,2.398,1.694), (2.346,1.642,2.508,1.694), (3.758,1.658,3.81,2.52), (0.69,1.668,0.742,1.888), (2.456,1.686,2.508,1.738), (2.456,1.686,2.508,1.738), (2.456,1.686,2.508,1.738), (2.456,1.686,2.508,1.738), (2.456,1.686,2.508,2.52), (3.124,1.686,3.176,1.738), (3.124,1.686,3.176,1.738), (3.124,1.686,3.176,2.52), (0.042,1.694,0.094,2.52), (0.69,1.836,0.742,2.52), (3.642,2.186,3.706,2.294), (3.654,2.214,3.706,2.266), (0,2.468,4,2.56), (0.042,2.468,0.094,2.52), (0.042,2.468,0.094,2.52), (0.042,2.468,0.094,2.52), (0.042,2.468,0.094,2.52), (0.042,2.468,0.094,2.52), (0.042,2.468,0.094,2.52), (0.042,2.468,0.094,2.52), (0.042,2.468,0.094,2.52), (0.042,2.468,0.094,2.52), (0.042,2.468,0.094,2.52), (0.042,2.468,0.094,2.52), (0.042,2.468,0.094,2.52), (0.042,2.468,0.094,2.52), (0.042,2.468,0.094,2.52), (0.042,2.468,0.094,2.52), (0.042,2.468,0.094,2.52), (0.386,2.468,0.438,2.52), (0.386,2.468,0.438,2.52), (0.386,2.468,0.438,2.52), (0.386,2.468,0.438,2.52), (0.386,2.468,0.438,2.52), (0.386,2.468,0.438,2.52), (0.69,2.468,0.742,2.52), (0.69,2.468,0.742,2.52), (0.69,2.468,0.742,2.52), (0.69,2.468,0.742,2.52), (0.69,2.468,0.742,2.52), (0.69,2.468,0.742,2.52), (0.69,2.468,0.742,2.52), (0.69,2.468,0.742,2.52), (2.456,2.468,2.508,2.52), (2.456,2.468,2.508,2.52), (2.456,2.468,2.508,2.52), (2.456,2.468,2.508,2.52), (3.124,2.468,3.176,2.52), (3.124,2.468,3.176,2.52), (3.124,2.468,3.176,2.52), (3.124,2.468,3.176,2.52), (3.124,2.468,3.176,2.52), (3.124,2.468,3.176,2.52), (3.758,2.468,3.816,2.52), (3.764,2.468,3.816,2.52), (3.764,2.468,3.816,2.52), (3.764,2.468,3.816,2.52), (3.764,2.468,3.816,2.52), (3.764,2.468,3.816,2.52), (3.764,2.468,3.816,2.52), (3.764,2.468,3.816,2.52)])
R(complex26, boundary, [(0,0,4,2.56)])
complex26.add(gdstk.Label('CL1#A', (0.32,1.28), layer=11, texttype=0))
complex26.add(gdstk.Label('CL1#B', (0.16,1.28), layer=11, texttype=0))
complex26.add(gdstk.Label('CL2#A', (0.48,1.28), layer=11, texttype=0))
complex26.add(gdstk.Label('CL2#B', (0.8,1.28), layer=11, texttype=0))
complex26.add(gdstk.Label('CL2#C', (1.12,1.28), layer=11, texttype=0))
complex26.add(gdstk.Label('CL2#D', (0.96,1.28), layer=11, texttype=0))
complex26.add(gdstk.Label('CL3#A', (2.08,1.12), layer=11, texttype=0))
complex26.add(gdstk.Label('CL3#B', (1.92,1.12), layer=11, texttype=0))
complex26.add(gdstk.Label('CL4#A', (2.56,1.28), layer=11, texttype=0))
complex26.add(gdstk.Label('CL4#B', (3.04,1.28), layer=11, texttype=0))
complex26.add(gdstk.Label('CL4#Y', (2.88,1.6), layer=11, texttype=0))
complex26.add(gdstk.Label('CL5#B', (3.68,2.24), layer=11, texttype=0))
complex26.add(gdstk.Label('CL5#S', (3.84,1.28), layer=11, texttype=0))
complex26.add(gdstk.Label('CL5#Y', (3.52,0.8), layer=11, texttype=0))

lib.write_gds('COMPLEX26.gds')
